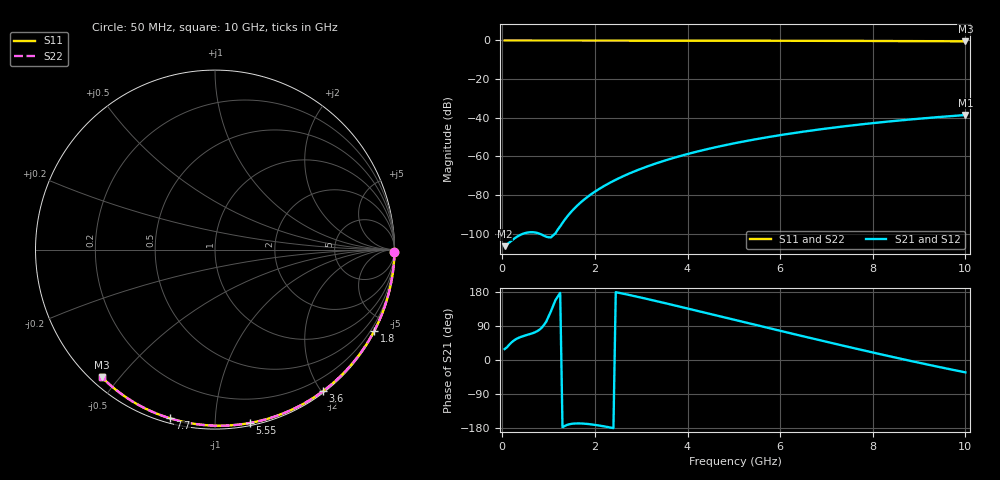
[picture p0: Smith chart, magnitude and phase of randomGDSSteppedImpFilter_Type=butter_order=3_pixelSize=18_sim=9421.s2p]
! freq	dB(S11)	phase(S11)	dB(S12)	phase(S12)
!  dB(S21)	phase(S21)	dB(S22)	phase(S22)
!S-par simulation data
#  GHz  S  DB  R 50
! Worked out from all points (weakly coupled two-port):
!   200 points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, 50 MHz to 10 GHz, reference 50 ohm
!   highest |S21| = -38.59 dB at 10 GHz (marker M1); lowest = -106.5 dB at 50 MHz (marker M2)
!   lowest |S11| = -0.4 dB at 10 GHz (marker M3), VSWR 39.21, Z = 1.53 - j22.5 ohm
!   |S11| at or under -10 dB: nowhere
!   |S22| runs from -0.4 to 0.0 dB; largest |S21 - S12| = 0
!   S11 on the Smith chart (normalised r, x): 50 MHz: open; 1.8 GHz: 0.04, -4.18; 3.6 GHz: 0.02, -2.02; 5.55 GHz: 0.02, -1.22; 7.7 GHz: 0.02, -0.77; 10 GHz: 0.03, -0.45
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0.05  -0.00 -0.8  -106.48 28.8  -106.48 28.8  -0.00 -0.8
0.45  -0.01 -6.8  -100.04 63.0  -100.04 63.0  -0.01 -6.8
0.9  -0.02 -13.6  -101.08 92.5  -101.08 92.5  -0.02 -13.6
1.75  -0.03 -26.2  -82.69 -167.9  -82.69 -167.9  -0.03 -26.2
1.8  -0.03 -26.9  -81.72 -168.3  -81.72 -168.3  -0.03 -26.9
1.9  -0.04 -28.4  -79.92 -169.6  -79.92 -169.6  -0.04 -28.4
2.05  -0.04 -30.6  -77.48 -172.1  -77.48 -172.1  -0.04 -30.6
2.25  -0.04 -33.5  -74.62 -176.3  -74.62 -176.3  -0.04 -33.5
2.45  -0.05 -36.4  -72.10 179.0  -72.10 179.0  -0.05 -36.4
2.65  -0.05 -39.3  -69.84 174.0  -69.84 174.0  -0.05 -39.3
3  -0.06 -44.3  -66.38 164.6  -66.38 164.6  -0.06 -44.3
3.4  -0.07 -49.9  -63.00 153.4  -63.00 153.4  -0.07 -49.9
3.6  -0.07 -52.7  -61.50 147.6  -61.50 147.6  -0.07 -52.7
4.3  -0.09 -62.2  -56.97 127.1  -56.97 127.1  -0.09 -62.2
5.05  -0.11 -72.2  -53.04 104.9  -53.04 104.9  -0.11 -72.2
5.55  -0.13 -78.7  -50.81 90.2  -50.81 90.2  -0.13 -78.7
6.1  -0.15 -85.6  -48.64 74.1  -48.64 74.1  -0.15 -85.6
6.7  -0.18 -93.1  -46.54 56.7  -46.54 56.7  -0.18 -93.1
7.7  -0.24 -105.1  -43.57 28.2  -43.57 28.2  -0.24 -105.1
8.35  -0.29 -112.7  -41.94 10.1  -41.94 10.1  -0.29 -112.7
9.15  -0.36 -121.9  -40.19 -11.2  -40.19 -11.2  -0.36 -121.9
10  -0.44 -131.5  -38.59 -32.6  -38.59 -32.6  -0.44 -131.5
